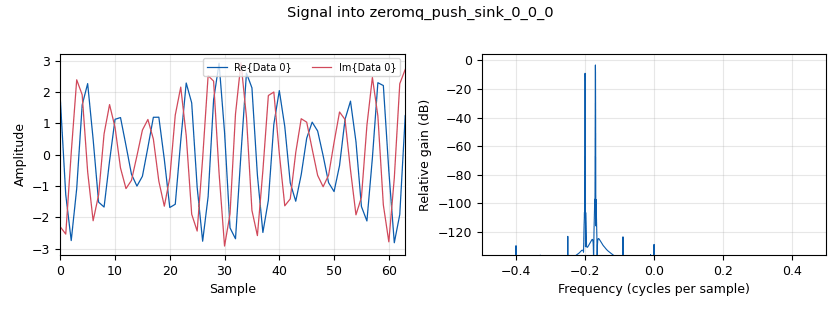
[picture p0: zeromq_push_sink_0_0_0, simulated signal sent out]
options:
  parameters:
    generate_options: no_gui
    id: top_block
    output_language: python
  states: {}

blocks:
- name: fft_size
  id: variable
  parameters:
    value: '1024'
  states: {}
- name: freq
  id: variable
  parameters:
    value: '-2000'
  states: {}
- name: plot
  id: variable
  parameters:
    value: '100'
  states: {}
- name: samp_rate
  id: variable
  parameters:
    value: 1e6/100
  states: {}
- name: sensor_count
  id: variable
  parameters:
    value: '2'
  states: {}
- name: blocks_add_xx_0
  id: blocks_add_xx
  parameters:
    num_inputs: '3'
    type: complex
  states: {}
- name: blocks_stream_to_vector_0
  id: blocks_stream_to_vector
  parameters:
    num_items: fft_size
    type: complex
  states: {}
- name: blocks_throttle_0
  id: blocks_throttle
  parameters:
    samples_per_second: samp_rate*10
    type: complex
  states: {}
- name: spectral_analysis_peak_finding_cf_0
  id: spectral_analysis_peak_finding_cf
  parameters:
    fft_size: fft_size
    min_dist: '1'
    sensor_count: sensor_count
    thres: '0.03'
  states: {}
- name: spectral_analysis_periodogram_py_cc_0
  id: spectral_analysis_periodogram_py_cc
  parameters:
    fft_size: fft_size
    sample_rate: samp_rate
    window: boxcar
  states: {}
- name: spectral_analysis_temperature_calc_ff_0
  id: spectral_analysis_temperature_calc_ff
  parameters:
    fshift: 24e6 * 5
    offset: '[130.0,200.0]'
    polycoeff: '[[2.22769620e-02, -1.70367733e+00, -1.58914013e+01, 1.19999708e+08],[2.22769620e-02, -1.70367733e+00, -1.58914013e+01, 1.19999708e+08]]'
    sensor_count: sensor_count
  states: {}
- name: variable_qtgui_range_0
  id: analog_sig_source_x
  parameters:
    amp: '1'
    freq: freq
    offset: '0'
    phase: '0'
    samp_rate: samp_rate
    type: complex
    waveform: analog.GR_SIN_WAVE
  states: {}
- name: variable_qtgui_range_0_0
  id: analog_sig_source_x
  parameters:
    amp: '1'
    freq: freq+300
    offset: '0'
    phase: '0'
    samp_rate: samp_rate
    type: complex
    waveform: analog.GR_SIN_WAVE
  states: {}
- name: variable_qtgui_range_0_0_0
  id: analog_sig_source_x
  parameters:
    amp: '1'
    freq: freq+300
    offset: '0'
    phase: '0'
    samp_rate: samp_rate
    type: complex
    waveform: analog.GR_SIN_WAVE
  states: {}
- name: zeromq_push_sink_0_0
  id: zeromq_push_sink
  parameters:
    address: tcp://*:5588
    timeout: '10'
    type: float
    vlen: '2'
  states: {}
- name: zeromq_push_sink_0_0_0
  id: zeromq_push_sink
  parameters:
    address: tcp://*:5589
    timeout: '10'
    type: complex
  states: {}

connections:
- [blocks_add_xx_0, '0', blocks_throttle_0, '0']
- [blocks_stream_to_vector_0, '0', spectral_analysis_periodogram_py_cc_0, '0']
- [blocks_throttle_0, '0', blocks_stream_to_vector_0, '0']
- [blocks_throttle_0, '0', zeromq_push_sink_0_0_0, '0']
- [spectral_analysis_peak_finding_cf_0, '0', spectral_analysis_temperature_calc_ff_0, '0']
- [spectral_analysis_periodogram_py_cc_0, '0', spectral_analysis_peak_finding_cf_0, '0']
- [spectral_analysis_periodogram_py_cc_0, '1', spectral_analysis_peak_finding_cf_0, '1']
- [spectral_analysis_temperature_calc_ff_0, '0', zeromq_push_sink_0_0, '0']
- [variable_qtgui_range_0, '0', blocks_add_xx_0, '0']
- [variable_qtgui_range_0_0, '0', blocks_add_xx_0, '1']
- [variable_qtgui_range_0_0_0, '0', blocks_add_xx_0, '2']

metadata:
  file_format: 1
